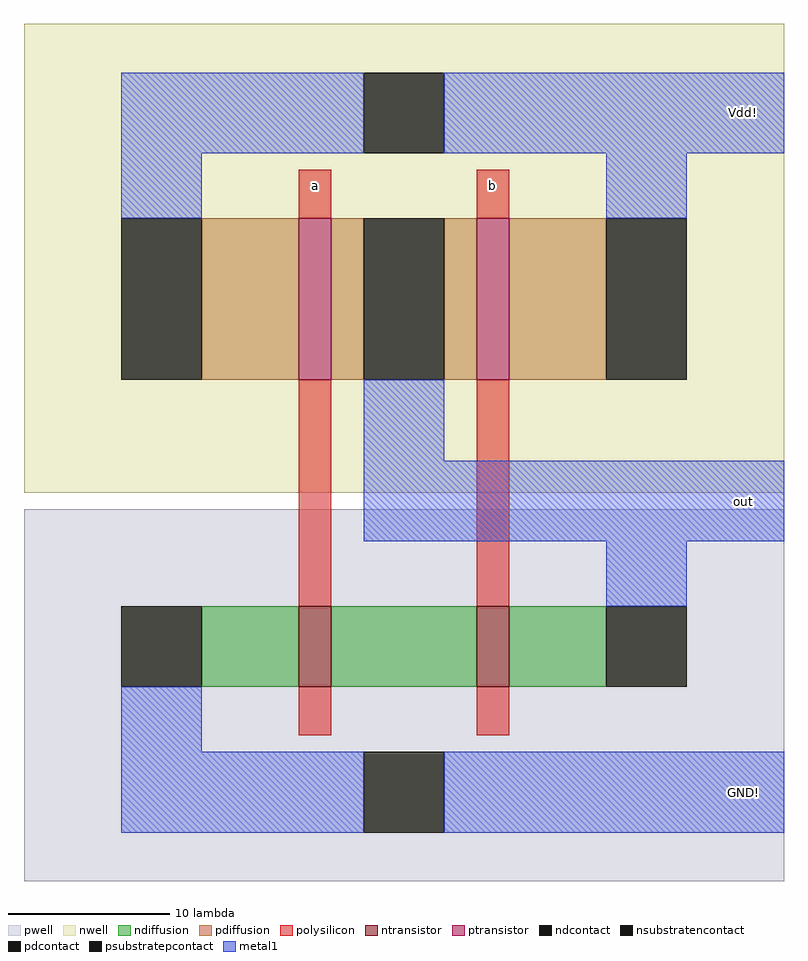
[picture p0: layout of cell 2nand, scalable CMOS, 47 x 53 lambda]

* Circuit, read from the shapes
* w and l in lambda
.subckt 2nand GND! Vdd! a b out
M1 n1 a GND! GND! nfet w=5 l=2
M2 out b n1 GND! nfet w=5 l=2
M3 out a Vdd! Vdd! pfet w=10 l=2
M4 Vdd! b out Vdd! pfet w=10 l=2
.ends

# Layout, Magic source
magic
tech scmos
<< nwell >>
rect 68 53 115 82
<< pwell >>
rect 68 29 115 52
<< ntransistor >>
rect 85 41 87 46
rect 96 41 98 46
<< ptransistor >>
rect 85 60 87 70
rect 96 60 98 70
<< ndiffusion >>
rect 79 41 85 46
rect 87 41 96 46
rect 98 41 104 46
<< pdiffusion >>
rect 79 60 85 70
rect 87 60 89 70
rect 94 60 96 70
rect 98 60 104 70
<< ndcontact >>
rect 74 41 79 46
rect 104 41 109 46
<< pdcontact >>
rect 74 60 79 70
rect 89 60 94 70
rect 104 60 109 70
<< psubstratepcontact >>
rect 89 32 94 37
<< nsubstratencontact >>
rect 89 74 94 79
<< polysilicon >>
rect 85 70 87 73
rect 96 70 98 73
rect 85 46 87 60
rect 96 46 98 60
rect 85 38 87 41
rect 96 38 98 41
<< metal1 >>
rect 74 74 89 79
rect 94 74 115 79
rect 74 70 79 74
rect 104 70 109 74
rect 89 55 94 60
rect 89 50 115 55
rect 104 46 109 50
rect 74 37 79 41
rect 74 32 89 37
rect 94 32 115 37
<< labels >>
rlabel metal1 110 74 115 79 7 Vdd!
rlabel polysilicon 85 71 87 73 1 a
rlabel polysilicon 96 71 98 73 1 b
rlabel metal1 110 50 115 55 7 out
rlabel metal1 110 32 115 37 7 GND!
<< end >>
